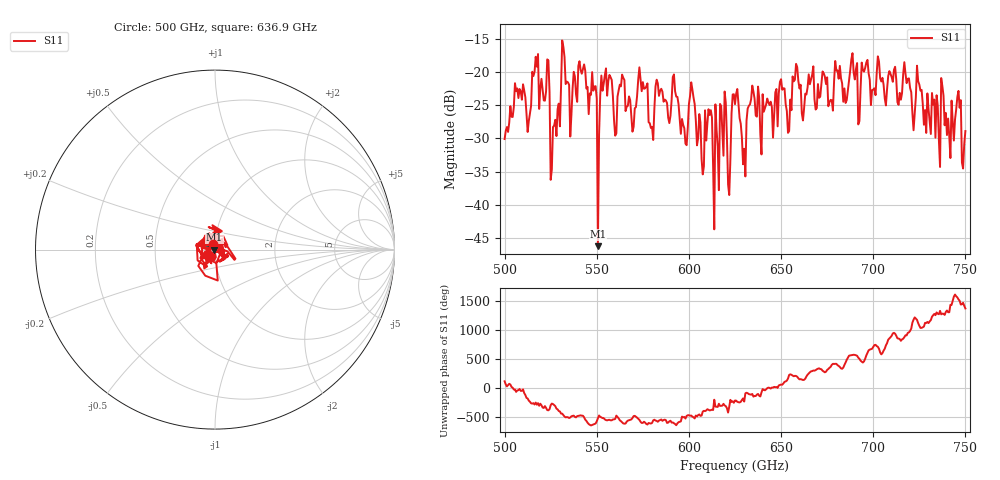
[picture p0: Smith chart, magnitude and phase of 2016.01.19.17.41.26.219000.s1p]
!Created with skrf (http://scikit-rf.org).
# GHz S RI R 50.0
!freq ReS11 ImS11
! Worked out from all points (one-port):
!   401 points, 500 GHz to 750 GHz, reference 50 ohm
!   lowest |S11| = -46.2 dB at 550.6 GHz (marker M1), VSWR 1.01, Z = 49.5 - j0.128 ohm
!   |S11| at or under -10 dB: start of sweep to end of sweep
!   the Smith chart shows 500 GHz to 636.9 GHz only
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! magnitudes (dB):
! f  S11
! 500 GHz  -30.1
! 506.9 GHz  -22.5
! 513.1 GHz  -27.4
! 516.9 GHz  -17.7
! 523.1 GHz  -18.1
! 526.2 GHz  -28.3
! 531.2 GHz  -15.2
! 548.8 GHz  -22.2
! 550.6 GHz  -46.2
! 553.8 GHz  -21.8
! 562.5 GHz  -21.9
! 576.2 GHz  -22.5
! 579.4 GHz  -28.4
! 593.8 GHz  -23.7
! 598.1 GHz  -30.8
! 601.9 GHz  -22.6
! 608.1 GHz  -34.2
! 611.2 GHz  -26.5
! 615 GHz  -28.7
! 618.8 GHz  -32.6
! 621.9 GHz  -38.5
! 625 GHz  -24.8
! 629.4 GHz  -33.9
! 634.4 GHz  -22.0
! 656.2 GHz  -20.7
! 687.5 GHz  -19.8
! 718.8 GHz  -21.0
! 750 GHz  -28.9
